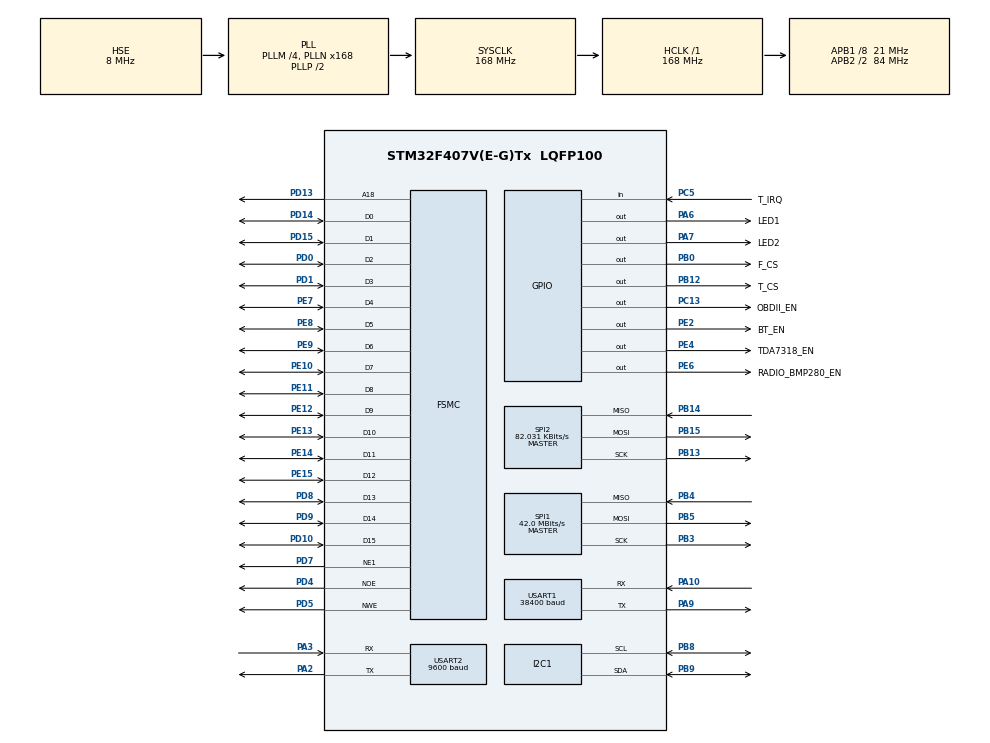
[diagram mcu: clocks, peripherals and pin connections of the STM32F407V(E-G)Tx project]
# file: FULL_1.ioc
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Dma.Request0=USART1_RX
Dma.Request1=USART1_TX
Dma.Request2=USART2_RX
Dma.Request3=USART2_TX
Dma.USART1_RX.0.Direction=DMA_PERIPH_TO_MEMORY
Dma.USART1_RX.0.FIFOMode=DMA_FIFOMODE_DISABLE
Dma.USART1_RX.0.Instance=DMA2_Stream2
Dma.USART1_RX.0.MemDataAlignment=DMA_MDATAALIGN_BYTE
Dma.USART1_RX.0.MemInc=DMA_MINC_ENABLE
Dma.USART1_RX.0.Mode=DMA_CIRCULAR
Dma.USART1_RX.0.PeriphDataAlignment=DMA_PDATAALIGN_BYTE
Dma.USART1_RX.0.PeriphInc=DMA_PINC_DISABLE
Dma.USART1_RX.0.Priority=DMA_PRIORITY_LOW
Dma.USART1_TX.1.Direction=DMA_MEMORY_TO_PERIPH
Dma.USART1_TX.1.FIFOMode=DMA_FIFOMODE_DISABLE
Dma.USART1_TX.1.Instance=DMA2_Stream7
Dma.USART1_TX.1.MemDataAlignment=DMA_MDATAALIGN_BYTE
Dma.USART1_TX.1.MemInc=DMA_MINC_ENABLE
Dma.USART1_TX.1.Mode=DMA_NORMAL
Dma.USART1_TX.1.PeriphDataAlignment=DMA_PDATAALIGN_BYTE
Dma.USART1_TX.1.PeriphInc=DMA_PINC_DISABLE
Dma.USART1_TX.1.Priority=DMA_PRIORITY_LOW
Dma.USART2_RX.2.Direction=DMA_PERIPH_TO_MEMORY
Dma.USART2_RX.2.FIFOMode=DMA_FIFOMODE_DISABLE
Dma.USART2_RX.2.Instance=DMA1_Stream5
Dma.USART2_RX.2.MemDataAlignment=DMA_MDATAALIGN_BYTE
Dma.USART2_RX.2.MemInc=DMA_MINC_ENABLE
Dma.USART2_RX.2.Mode=DMA_CIRCULAR
Dma.USART2_RX.2.PeriphDataAlignment=DMA_PDATAALIGN_BYTE
Dma.USART2_RX.2.PeriphInc=DMA_PINC_DISABLE
Dma.USART2_RX.2.Priority=DMA_PRIORITY_LOW
Dma.USART2_TX.3.Direction=DMA_MEMORY_TO_PERIPH
Dma.USART2_TX.3.FIFOMode=DMA_FIFOMODE_DISABLE
Dma.USART2_TX.3.Instance=DMA1_Stream6
Dma.USART2_TX.3.MemDataAlignment=DMA_MDATAALIGN_BYTE
Dma.USART2_TX.3.MemInc=DMA_MINC_ENABLE
Dma.USART2_TX.3.Mode=DMA_NORMAL
Dma.USART2_TX.3.PeriphDataAlignment=DMA_PDATAALIGN_BYTE
Dma.USART2_TX.3.PeriphInc=DMA_PINC_DISABLE
Dma.USART2_TX.3.Priority=DMA_PRIORITY_LOW
FREERTOS.Tasks01=GUI,0,2048,_GUI,Default,NULL,Dynamic,NULL,NULL;Parser,0,2048,_Parser,Default,NULL,Dynamic,NULL,NULL;OBD,0,1024,_OBD,Default,NULL,Dynamic,NULL,NULL;Audio,0,512,_Audio,Default,NULL,Dynamic,NULL,NULL;Touch,0,512,_Touch,Default,NULL,Dynamic,NULL,NULL;Meteo,0,256,_Meteo,Default,NULL,Dynamic,NULL,NULL;SaveReadParamet,0,2048,_SaveReadParameters,Default,NULL,Dynamic,NULL,NULL
FREERTOS.configTOTAL_HEAP_SIZE=51200
FSMC.AddressSetupTime1=0
FSMC.BusTurnAroundDuration1=0
FSMC.DataSetupTime1=1
Mcu.Family=STM32F4
Mcu.Name=STM32F407V(E-G)Tx
Mcu.Package=LQFP100
NVIC.DMA1_Stream5_IRQn=true\:5\:0\:false\:false\:true\:true\:false\:true
NVIC.DMA1_Stream6_IRQn=true\:5\:0\:false\:false\:true\:true\:false\:true
NVIC.DMA2_Stream2_IRQn=true\:5\:0\:false\:false\:true\:true\:false\:true
NVIC.DMA2_Stream7_IRQn=true\:5\:0\:false\:false\:true\:true\:false\:true
NVIC.PriorityGroup=NVIC_PRIORITYGROUP_4
NVIC.RCC_IRQn=true\:5\:0\:false\:false\:true\:true\:true\:false
NVIC.RTC_WKUP_IRQn=true\:5\:0\:false\:false\:true\:true\:true\:true
NVIC.TIM1_UP_TIM10_IRQn=true\:0\:0\:false\:false\:true\:false\:false\:true
NVIC.TIM7_IRQn=true\:5\:0\:false\:false\:true\:true\:true\:true
NVIC.TimeBase=TIM1_UP_TIM10_IRQn
NVIC.TimeBaseIP=TIM1
NVIC.USART1_IRQn=true\:5\:0\:false\:false\:true\:true\:true\:true
NVIC.USART2_IRQn=true\:5\:0\:false\:false\:true\:true\:true\:true
PA10.Mode=Asynchronous
PA10.Signal=USART1_RX
PA13.Mode=Serial_Wire
PA13.Signal=SYS_JTMS-SWDIO
PA14.Mode=Serial_Wire
PA14.Signal=SYS_JTCK-SWCLK
PA2.Mode=Asynchronous
PA2.Signal=USART2_TX
PA3.Mode=Asynchronous
PA3.Signal=USART2_RX
PA6.GPIO_Label=LED1
PA6.Signal=GPIO_Output
PA7.GPIO_Label=LED2
PA7.Signal=GPIO_Output
PA9.Mode=Asynchronous
PA9.Signal=USART1_TX
PB0.GPIO_Label=F_CS
PB0.GPIO_PuPd=GPIO_PULLUP
PB0.GPIO_Speed=GPIO_SPEED_FREQ_VERY_HIGH
PB0.PinState=GPIO_PIN_SET
PB0.Signal=GPIO_Output
PB12.GPIO_Label=T_CS
PB12.GPIO_PuPd=GPIO_PULLUP
PB12.GPIO_Speed=GPIO_SPEED_FREQ_VERY_HIGH
PB12.PinState=GPIO_PIN_SET
PB12.Signal=GPIO_Output
PB13.Mode=Full_Duplex_Master
PB13.Signal=SPI2_SCK
PB14.Mode=Full_Duplex_Master
PB14.Signal=SPI2_MISO
PB15.Mode=Full_Duplex_Master
PB15.Signal=SPI2_MOSI
PB3.Mode=Full_Duplex_Master
PB3.Signal=SPI1_SCK
PB4.Mode=Full_Duplex_Master
PB4.Signal=SPI1_MISO
PB5.Mode=Full_Duplex_Master
PB5.Signal=SPI1_MOSI
PB8.Mode=I2C
PB8.Signal=I2C1_SCL
PB9.Mode=I2C
PB9.Signal=I2C1_SDA
PC13-ANTI_TAMP.GPIO_Label=OBDII_EN
PC13-ANTI_TAMP.GPIO_PuPd=GPIO_PULLDOWN
PC13-ANTI_TAMP.Signal=GPIO_Output
PC14-OSC32_IN.Mode=LSE-External-Oscillator
PC14-OSC32_IN.Signal=RCC_OSC32_IN
PC15-OSC32_OUT.Mode=LSE-External-Oscillator
PC15-OSC32_OUT.Signal=RCC_OSC32_OUT
PC5.GPIO_Label=T_IRQ
PC5.Signal=GPIO_Input
PD0.Mode=16b-d1
PD0.Signal=FSMC_D2
PD1.Mode=16b-d1
PD1.Signal=FSMC_D3
PD10.Mode=16b-d1
PD10.Signal=FSMC_D15
PD13.Mode=A18_1
PD13.Signal=FSMC_A18
PD14.Mode=16b-d1
PD14.Signal=FSMC_D0
PD15.Mode=16b-d1
PD15.Signal=FSMC_D1
PD4.Mode=Lcd1
PD4.Signal=FSMC_NOE
PD5.Mode=Lcd1
PD5.Signal=FSMC_NWE
PD7.Mode=NorPsramChipSelect1_1
PD7.Signal=FSMC_NE1
PD8.Mode=16b-d1
PD8.Signal=FSMC_D13
PD9.Mode=16b-d1
PD9.Signal=FSMC_D14
PE10.Mode=16b-d1
PE10.Signal=FSMC_D7
PE11.Mode=16b-d1
PE11.Signal=FSMC_D8
PE12.Mode=16b-d1
PE12.Signal=FSMC_D9
PE13.Mode=16b-d1
PE13.Signal=FSMC_D10
PE14.Mode=16b-d1
PE14.Signal=FSMC_D11
PE15.Mode=16b-d1
PE15.Signal=FSMC_D12
PE2.GPIO_Label=BT_EN
PE2.GPIO_PuPd=GPIO_PULLDOWN
PE2.GPIO_Speed=GPIO_SPEED_FREQ_VERY_HIGH
PE2.Signal=GPIO_Output
PE4.GPIO_Label=TDA7318_EN
PE4.GPIO_PuPd=GPIO_PULLDOWN
PE4.GPIO_Speed=GPIO_SPEED_FREQ_VERY_HIGH
PE4.Signal=GPIO_Output
PE6.GPIO_Label=RADIO_BMP280_EN
PE6.GPIO_PuPd=GPIO_PULLDOWN
PE6.GPIO_Speed=GPIO_SPEED_FREQ_VERY_HIGH
PE6.Signal=GPIO_Output
PE7.Mode=16b-d1
PE7.Signal=FSMC_D4
PE8.Mode=16b-d1
PE8.Signal=FSMC_D5
PE9.Mode=16b-d1
PE9.Signal=FSMC_D6
PH0-OSC_IN.Mode=HSE-External-Oscillator
PH0-OSC_IN.Signal=RCC_OSC_IN
PH1-OSC_OUT.Mode=HSE-External-Oscillator
PH1-OSC_OUT.Signal=RCC_OSC_OUT
ProjectManager.HeapSize=0x2800
ProjectManager.StackSize=0x2800
ProjectManager.TargetToolchain=MDK-ARM V5
RCC.48MHZClocksFreq_Value=48000000
RCC.AHBFreq_Value=168000000
RCC.APB1CLKDivider=RCC_HCLK_DIV8
RCC.APB1Freq_Value=21000000
RCC.APB1TimFreq_Value=42000000
RCC.APB2CLKDivider=RCC_HCLK_DIV2
RCC.APB2Freq_Value=84000000
RCC.APB2TimFreq_Value=168000000
RCC.CortexFreq_Value=168000000
RCC.HCLKFreq_Value=168000000
RCC.HSE_VALUE=8000000
RCC.HSI_VALUE=16000000
RCC.PLLM=4
RCC.PLLN=168
RCC.PLLQ=7
RCC.PLLSourceVirtual=RCC_PLLSOURCE_HSE
RCC.RCC_RTC_Clock_Source=RCC_RTCCLKSOURCE_LSE
RCC.RCC_RTC_Clock_SourceVirtual=RCC_RTCCLKSOURCE_LSE
RCC.SYSCLKFreq_VALUE=168000000
RCC.SYSCLKSource=RCC_SYSCLKSOURCE_PLLCLK
RCC.VCOOutputFreq_Value=336000000
RTC.Date=2
RTC.Format=RTC_FORMAT_BCD
RTC.Month=RTC_MONTH_MARCH
RTC.WakeUpClock=RTC_WAKEUPCLOCK_CK_SPRE_16BITS
RTC.WakeUpCounter=59
RTC.Year=19
SPI1.BaudRatePrescaler=SPI_BAUDRATEPRESCALER_2
SPI1.CalculateBaudRate=42.0 MBits/s
SPI1.Direction=SPI_DIRECTION_2LINES
SPI1.Mode=SPI_MODE_MASTER
SPI1.VirtualType=VM_MASTER
SPI2.BaudRatePrescaler=SPI_BAUDRATEPRESCALER_256
SPI2.CalculateBaudRate=82.031 KBits/s
SPI2.Direction=SPI_DIRECTION_2LINES
SPI2.Mode=SPI_MODE_MASTER
SPI2.VirtualType=VM_MASTER
TIM7.Period=65500
TIM7.Prescaler=41999
TIM7.TIM_MasterOutputTrigger=TIM_TRGO_UPDATE
USART1.BaudRate=38400
USART1.VirtualMode=VM_ASYNC
USART2.BaudRate=9600
USART2.VirtualMode=VM_ASYNC
VP_FREERTOS_VS_CMSIS_V1.Mode=CMSIS_V1
VP_RTC_VS_RTC_Activate.Mode=RTC_Enabled
VP_RTC_VS_RTC_Calendar.Mode=RTC_Calendar
VP_RTC_VS_RTC_WakeUp_intern.Mode=WakeUp
VP_SYS_VS_tim1.Mode=TIM1
VP_TIM7_VS_ClockSourceINT.Mode=Enable_Timer
board=custom

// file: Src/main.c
/* USER CODE BEGIN Header */
/**
  ******************************************************************************
  * @file           : main.c
  * @brief          : Main program body
  ******************************************************************************
  * This notice applies to any and all portions of this file
  * that are not between comment pairs USER CODE BEGIN and
  * USER CODE END. Other portions of this file, whether
  * inserted by the user or by software development tools
  * are owned by their respective copyright owners.
  *
  * Copyright (c) 2019 STMicroelectronics International N.V.
  * All rights reserved.
  *
  * Redistribution and use in source and binary forms, with or without
  * modification, are permitted, provided that the following conditions are met:
  *
  * 1. Redistribution of source code must retain the above copyright notice,
  *    this list of conditions and the following disclaimer.
  * 2. Redistributions in binary form must reproduce the above copyright notice,
  *    this list of conditions and the following disclaimer in the documentation
  *    and/or other materials provided with the distribution.
  * 3. Neither the name of STMicroelectronics nor the names of other
  *    contributors to this software may be used to endorse or promote products
  *    derived from this software without specific written permission.
  * 4. This software, including modifications and/or derivative works of this
  *    software, must execute solely and exclusively on microcontroller or
  *    microprocessor devices manufactured by or for STMicroelectronics.
  * 5. Redistribution and use of this software other than as permitted under
  *    this license is void and will automatically terminate your rights under
  *    this license.
  *
  * THIS SOFTWARE IS PROVIDED BY STMICROELECTRONICS AND CONTRIBUTORS "AS IS"
  * AND ANY EXPRESS, IMPLIED OR STATUTORY WARRANTIES, INCLUDING, BUT NOT
  * LIMITED TO, THE IMPLIED WARRANTIES OF MERCHANTABILITY, FITNESS FOR A
  * PARTICULAR PURPOSE AND NON-INFRINGEMENT OF THIRD PARTY INTELLECTUAL PROPERTY
  * RIGHTS ARE DISCLAIMED TO THE FULLEST EXTENT PERMITTED BY LAW. IN NO EVENT
  * SHALL STMICROELECTRONICS OR CONTRIBUTORS BE LIABLE FOR ANY DIRECT, INDIRECT,
  * INCIDENTAL, SPECIAL, EXEMPLARY, OR CONSEQUENTIAL DAMAGES (INCLUDING, BUT NOT
  * LIMITED TO, PROCUREMENT OF SUBSTITUTE GOODS OR SERVICES; LOSS OF USE, DATA,
  * OR PROFITS; OR BUSINESS INTERRUPTION) HOWEVER CAUSED AND ON ANY THEORY OF
  * LIABILITY, WHETHER IN CONTRACT, STRICT LIABILITY, OR TORT (INCLUDING
  * NEGLIGENCE OR OTHERWISE) ARISING IN ANY WAY OUT OF THE USE OF THIS SOFTWARE,
  * EVEN IF ADVISED OF THE POSSIBILITY OF SUCH DAMAGE.
  *
  ******************************************************************************
  */
/* USER CODE END Header */

#include "main.h"
#include "cmsis_os.h"
#include "dma.h"
#include "i2c.h"
#include "rtc.h"
#include "spi.h"
#include "tim.h"
#include "usart.h"
#include "gpio.h"
#include "fsmc.h"

/* USER CODE BEGIN Includes */
#include "OBDII.h"
extern OBD_Data_States_Typedef OBD_Data_State;
extern DMA_HandleTypeDef hdma_usart1_rx;
extern DMA_HandleTypeDef hdma_usart2_rx;
uint8_t DMA_BUFFER_OBD[DMA_BUFFER_OBD_SIZE];
uint8_t OBD_BUFFER[DMA_BUFFER_OBD_SIZE];
uint8_t DMA_BUFFER_BT[DMA_BUFFER_BT_SIZE];
uint8_t BT_BUFFER[DMA_BUFFER_BT_SIZE];
/* USER CODE END Includes */

void SystemClock_Config(void);
void MX_FREERTOS_Init(void);

int main(void)
{

  /* MCU Configuration--------------------------------------------------------*/

  /* Reset of all peripherals, Initializes the Flash interface and the Systick. */
  HAL_Init();

  /* Configure the system clock */
  SystemClock_Config();

  /* Initialize all configured peripherals */
  MX_GPIO_Init();
  MX_DMA_Init();
  MX_FSMC_Init();
  MX_SPI2_Init();
  MX_SPI1_Init();
  MX_USART1_UART_Init();
  MX_USART2_UART_Init();
  MX_I2C1_Init();
  MX_RTC_Init();
  MX_TIM7_Init();
  /* USER CODE BEGIN 2 */
	RTC_Interrupt();
	hdma_usart1_rx.Instance->CR &= ~DMA_SxCR_HTIE;
	hdma_usart2_rx.Instance->CR &= ~DMA_SxCR_HTIE;
	__HAL_UART_ENABLE_IT(&huart1, UART_IT_IDLE);
	__HAL_UART_ENABLE_IT(&huart2, UART_IT_IDLE);
	__HAL_DMA_ENABLE_IT (&hdma_usart1_rx, DMA_IT_TC);
	__HAL_DMA_ENABLE_IT (&hdma_usart2_rx, DMA_IT_TC);
	HAL_UART_Receive_DMA(&huart1, DMA_BUFFER_OBD, DMA_BUFFER_OBD_SIZE);
	HAL_UART_Receive_DMA(&huart2, DMA_BUFFER_BT, DMA_BUFFER_BT_SIZE);
	HAL_TIM_Base_Start_IT(&htim7);
  /* USER CODE END 2 */

  /* Call init function for freertos objects (in freertos.c) */
  MX_FREERTOS_Init();

  /* Start scheduler */
  osKernelStart();

  /* We should never get here as control is now taken by the scheduler */

  /* Infinite loop */
  while (1)
  {

  }
}

void SystemClock_Config(void)
{
  RCC_OscInitTypeDef RCC_OscInitStruct = {0};
  RCC_ClkInitTypeDef RCC_ClkInitStruct = {0};
  RCC_PeriphCLKInitTypeDef PeriphClkInitStruct = {0};

  /** Configure the main internal regulator output voltage
  */
  __HAL_RCC_PWR_CLK_ENABLE();
  __HAL_PWR_VOLTAGESCALING_CONFIG(PWR_REGULATOR_VOLTAGE_SCALE1);
  /** Initializes the CPU, AHB and APB busses clocks
  */
  RCC_OscInitStruct.OscillatorType = RCC_OSCILLATORTYPE_HSE|RCC_OSCILLATORTYPE_LSE;
  RCC_OscInitStruct.HSEState = RCC_HSE_ON;
  RCC_OscInitStruct.LSEState = RCC_LSE_ON;
  RCC_OscInitStruct.PLL.PLLState = RCC_PLL_ON;
  RCC_OscInitStruct.PLL.PLLSource = RCC_PLLSOURCE_HSE;
  RCC_OscInitStruct.PLL.PLLM = 4;
  RCC_OscInitStruct.PLL.PLLN = 168;
  RCC_OscInitStruct.PLL.PLLP = RCC_PLLP_DIV2;
  RCC_OscInitStruct.PLL.PLLQ = 7;
  if (HAL_RCC_OscConfig(&RCC_OscInitStruct) != HAL_OK)
  {
    Error_Handler();
  }
  /** Initializes the CPU, AHB and APB busses clocks
  */
  RCC_ClkInitStruct.ClockType = RCC_CLOCKTYPE_HCLK|RCC_CLOCKTYPE_SYSCLK
                              |RCC_CLOCKTYPE_PCLK1|RCC_CLOCKTYPE_PCLK2;
  RCC_ClkInitStruct.SYSCLKSource = RCC_SYSCLKSOURCE_PLLCLK;
  RCC_ClkInitStruct.AHBCLKDivider = RCC_SYSCLK_DIV1;
  RCC_ClkInitStruct.APB1CLKDivider = RCC_HCLK_DIV8;
  RCC_ClkInitStruct.APB2CLKDivider = RCC_HCLK_DIV2;

  if (HAL_RCC_ClockConfig(&RCC_ClkInitStruct, FLASH_LATENCY_5) != HAL_OK)
  {
    Error_Handler();
  }
  PeriphClkInitStruct.PeriphClockSelection = RCC_PERIPHCLK_RTC;
  PeriphClkInitStruct.RTCClockSelection = RCC_RTCCLKSOURCE_LSE;
  if (HAL_RCCEx_PeriphCLKConfig(&PeriphClkInitStruct) != HAL_OK)
  {
    Error_Handler();
  }
}

void HAL_TIM_PeriodElapsedCallback(TIM_HandleTypeDef *htim)
{
  if (htim->Instance == TIM1)
	{
    HAL_IncTick();
  }
}

void Error_Handler(void)
{
}

/************************ (C) COPYRIGHT STMicroelectronics *****END OF FILE****/

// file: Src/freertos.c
/* USER CODE BEGIN Header */
/**
  ******************************************************************************
  * File Name          : freertos.c
  * Description        : Code for freertos applications
  ******************************************************************************
  * This notice applies to any and all portions of this file
  * that are not between comment pairs USER CODE BEGIN and
  * USER CODE END. Other portions of this file, whether
  * inserted by the user or by software development tools
  * are owned by their respective copyright owners.
  *
  * Copyright (c) 2019 STMicroelectronics International N.V.
  * All rights reserved.
  *
  * Redistribution and use in source and binary forms, with or without
  * modification, are permitted, provided that the following conditions are met:
  *
  * 1. Redistribution of source code must retain the above copyright notice,
  *    this list of conditions and the following disclaimer.
  * 2. Redistributions in binary form must reproduce the above copyright notice,
  *    this list of conditions and the following disclaimer in the documentation
  *    and/or other materials provided with the distribution.
  * 3. Neither the name of STMicroelectronics nor the names of other
  *    contributors to this software may be used to endorse or promote products
  *    derived from this software without specific written permission.
  * 4. This software, including modifications and/or derivative works of this
  *    software, must execute solely and exclusively on microcontroller or
  *    microprocessor devices manufactured by or for STMicroelectronics.
  * 5. Redistribution and use of this software other than as permitted under
  *    this license is void and will automatically terminate your rights under
  *    this license.
  *
  * THIS SOFTWARE IS PROVIDED BY STMICROELECTRONICS AND CONTRIBUTORS "AS IS"
  * AND ANY EXPRESS, IMPLIED OR STATUTORY WARRANTIES, INCLUDING, BUT NOT
  * LIMITED TO, THE IMPLIED WARRANTIES OF MERCHANTABILITY, FITNESS FOR A
  * PARTICULAR PURPOSE AND NON-INFRINGEMENT OF THIRD PARTY INTELLECTUAL PROPERTY
  * RIGHTS ARE DISCLAIMED TO THE FULLEST EXTENT PERMITTED BY LAW. IN NO EVENT
  * SHALL STMICROELECTRONICS OR CONTRIBUTORS BE LIABLE FOR ANY DIRECT, INDIRECT,
  * INCIDENTAL, SPECIAL, EXEMPLARY, OR CONSEQUENTIAL DAMAGES (INCLUDING, BUT NOT
  * LIMITED TO, PROCUREMENT OF SUBSTITUTE GOODS OR SERVICES; LOSS OF USE, DATA,
  * OR PROFITS; OR BUSINESS INTERRUPTION) HOWEVER CAUSED AND ON ANY THEORY OF
  * LIABILITY, WHETHER IN CONTRACT, STRICT LIABILITY, OR TORT (INCLUDING
  * NEGLIGENCE OR OTHERWISE) ARISING IN ANY WAY OUT OF THE USE OF THIS SOFTWARE,
  * EVEN IF ADVISED OF THE POSSIBILITY OF SUCH DAMAGE.
  *
  ******************************************************************************
  */
/* USER CODE END Header */

#include "FreeRTOS.h"
#include "task.h"
#include "main.h"
#include "cmsis_os.h"

/* USER CODE BEGIN Includes */
#include "GUI.h"
#include "TouchPanel.h"
#include "DIALOG.h"
#include "OBDII.h"
#include "BK8000L.h"
#include "W25Q.h"
#include "bmp280.h"
#include "TDA7318.h"
#include "RDA5807m.h"

/* USER CODE END Includes */

/* USER CODE BEGIN PTD */
WM_MESSAGE msg;
volatile OBD_General_States_Typedef OBD_General_State = NOP;
volatile OBD_Sign_States_Typedef OBD_Sign_State = OBD_OK;
volatile OBD_Data_States_Typedef OBD_Data_State = WAIT_DATA;
volatile OBD_Average_Cons_States_Typedef OBD_Average_Cons_State = CONSUMPTION_WAIT_RECEIVE;
volatile OBD_Errors_State_Typedef OBD_Errors_State = OBD_ERRORS_NOP;
volatile BT_General_States_Typedef BT_General_State = WAIT_BT_INIT;
volatile TDA7318_States_Typedef TDA7318_General_State = TDA7318_WAIT_INIT;
volatile TDA7318_Volume_States_Typedef TDA7318_Volume_State = TDA7318_UNMUTE;
volatile Audio_Switch_States_Typedef Audio_Switch = INPUT_1_SWITCH;
volatile BT_States_Typedef BT_State = WAIT;
BT_Values_Typedef BT_Value;
volatile BT_PowerMode_Typedef BT_PowerMode = OFF;
volatile RDA5807M_States_Typedef RDA5807M_States = RDA5807M_WAIT_INIT;
volatile RDA5807M_Update_States_Typedef RDA5807M_Update_States = RDA5807M_RSSI_WAIT;
volatile RDA5807M_PowerMode_Typedef RDA5807M_PowerMode = RDA5807M_OFF;
extern uint8_t DMA_BUFFER_OBD[DMA_BUFFER_OBD_SIZE];
extern uint8_t OBD_BUFFER[DMA_BUFFER_OBD_SIZE];
extern uint8_t DMA_BUFFER_BT[DMA_BUFFER_BT_SIZE];
extern uint8_t BT_BUFFER[DMA_BUFFER_BT_SIZE];
CarValues_Typedef Car_Param;
CarParameters_Typedef CarParameters;
Saved_parameters_Typedef Saved_Parameters;
RDA5807M_Data_Typedef RDA5807M_Data;
extern GUIHandles GuiHandles;
BMP280_HandleTypedef BMP280;
Meteo_Data_Typedef Meteo_Data;

/* USER CODE END PTD */

/* USER CODE BEGIN Variables */
xQueueHandle QueueCarParam;
xQueueHandle QueueMVHFromISR;
xQueueHandle QueueODBFromISR;
xQueueHandle QueueBTFromISR;
/* USER CODE END Variables */
osThreadId GUIHandle;
osThreadId ParserHandle;
osThreadId OBDHandle;
osThreadId AudioHandle;
osThreadId TouchHandle;
osThreadId MeteoHandle;
osThreadId SaveReadParametHandle;

void _GUI(void const * argument);
void _Parser(void const * argument);
void _OBD(void const * argument);
void _Audio(void const * argument);
void _Touch(void const * argument);
void _Meteo(void const * argument);
void _SaveReadParameters(void const * argument);

void MX_FREERTOS_Init(void); /* (MISRA C 2004 rule 8.1) */

/* GetIdleTaskMemory prototype (linked to static allocation support) */
void vApplicationGetIdleTaskMemory( StaticTask_t **ppxIdleTaskTCBBuffer, StackType_t **ppxIdleTaskStackBuffer, uint32_t *pulIdleTaskStackSize );

/* USER CODE BEGIN GET_IDLE_TASK_MEMORY */
static StaticTask_t xIdleTaskTCBBuffer;
static StackType_t xIdleStack[configMINIMAL_STACK_SIZE];

void vApplicationGetIdleTaskMemory( StaticTask_t **ppxIdleTaskTCBBuffer, StackType_t **ppxIdleTaskStackBuffer, uint32_t *pulIdleTaskStackSize )
{
  *ppxIdleTaskTCBBuffer = &xIdleTaskTCBBuffer;
  *ppxIdleTaskStackBuffer = &xIdleStack[0];
  *pulIdleTaskStackSize = configMINIMAL_STACK_SIZE;
  /* place for user code */
}
/* USER CODE END GET_IDLE_TASK_MEMORY */

void MX_FREERTOS_Init(void) {
  /* USER CODE BEGIN Init */
  Touch_Cal_Read(&matrix);
	__HAL_RCC_CRC_CLK_ENABLE();
	HAL_GPIO_WritePin(RADIO_BMP280_EN_GPIO_Port, RADIO_BMP280_EN_Pin, GPIO_PIN_SET);
	HAL_GPIO_WritePin(TDA7318_EN_GPIO_Port, TDA7318_EN_Pin, GPIO_PIN_RESET);
	HAL_GPIO_WritePin(OBDII_EN_GPIO_Port, OBDII_EN_Pin, GPIO_PIN_RESET);
	Car_Param.Average_Consumption = 0.0f;
	GUI_Init();
	CreateMainWindow();
  /* USER CODE END Init */

  /* USER CODE BEGIN RTOS_QUEUES */
	QueueODBFromISR = xQueueCreate(10, sizeof(DMA_BUFFER_OBD));
	QueueBTFromISR = xQueueCreate(1, sizeof(DMA_BUFFER_BT));
  /* add queues, ... */
  /* USER CODE END RTOS_QUEUES */

  /* Create the thread(s) */
  /* definition and creation of GUI */
  osThreadDef(GUI, _GUI, osPriorityNormal, 0, 2048);
  GUIHandle = osThreadCreate(osThread(GUI), NULL);

  /* definition and creation of Parser */
  osThreadDef(Parser, _Parser, osPriorityNormal, 0, 2048);
  ParserHandle = osThreadCreate(osThread(Parser), NULL);

  /* definition and creation of OBD */
  osThreadDef(OBD, _OBD, osPriorityNormal, 0, 1024);
  OBDHandle = osThreadCreate(osThread(OBD), NULL);

  /* definition and creation of Audio */
  osThreadDef(Audio, _Audio, osPriorityNormal, 0, 512);
  AudioHandle = osThreadCreate(osThread(Audio), NULL);

  /* definition and creation of Touch */
  osThreadDef(Touch, _Touch, osPriorityNormal, 0, 512);
  TouchHandle = osThreadCreate(osThread(Touch), NULL);

  /* definition and creation of Meteo */
  osThreadDef(Meteo, _Meteo, osPriorityNormal, 0, 256);
  MeteoHandle = osThreadCreate(osThread(Meteo), NULL);

  /* definition and creation of SaveReadParamet */
  osThreadDef(SaveReadParamet, _SaveReadParameters, osPriorityNormal, 0, 2048);
  SaveReadParametHandle = osThreadCreate(osThread(SaveReadParamet), NULL);

}

void _GUI(void const * argument)
{

  /* USER CODE BEGIN _GUI */

  /* Infinite loop */
  for(;;)
  {

		GUI_Exec();

		switch(msg.MsgId)
		{
			case WM_UPDATE_MIN:
				WM_SendMessage(GuiHandles.hMainWindow, &msg);
				msg.MsgId = WM_UPDATE_MIN;
				WM_SendMessage(GuiHandles.hAudioWindow, &msg);
				break;
			case WM_UPDATE_CAR:
				WM_SendMessage(GuiHandles.hMainWindow, &msg);
				msg.MsgId = WM_UPDATE_CAR;
				WM_SendMessage(GuiHandles.hAudioWindow, &msg);
				break;
			case WM_UPDATE_AUDIO:
				WM_SendMessage(GuiHandles.hAudioWindow, &msg);
				break;
			case WM_UPDATE_BT:
				WM_SendMessage(GuiHandles.hAudioWindow, &msg);
				break;
			case WM_UPDATE_OBD_ERRORS:
				WM_SendMessage(GuiHandles.hOBDWindow, &msg);
				break;
			case WM_UPDATE_METEO:
				WM_SendMessage(GuiHandles.hMainWindow, &msg);
				break;
			case WM_RADIO:
				WM_SendMessage(GuiHandles.hAudioWindow, &msg);
				break;
		}

  }
  /* USER CODE END _GUI */
}

void _Parser(void const * argument)
{
  /* USER CODE BEGIN _Parser */
	  /* Infinite loop */
  for(;;)
  {
		if(uxQueueMessagesWaitingFromISR(QueueODBFromISR)>0)
		{
			xQueueReceive(QueueODBFromISR, &OBD_BUFFER, 100);
			OBD_CheckState(OBD_BUFFER, &CarParameters);
		}
		if(uxQueueMessagesWaitingFromISR(QueueBTFromISR)>0)
			{
				xQueueReceive(QueueBTFromISR, &BT_BUFFER, 100);
				if(BT_PowerMode != OFF)
				{
					BTCheckState(BT_BUFFER, &BT_Value);
				}
			}
  }
  /* USER CODE END _Parser */
}

void _OBD(void const * argument)
{
  /* USER CODE BEGIN _OBD */
	float VSS, MAP, IAT, RPM, LONGFT, SHRTFT, Fb, Ft;
	uint8_t k = 0;
	float Current_Consumption[NUMBER_OF_MEASUREMENTS] = {0};
  /* Infinite loop */
  for(;;)
  {
		if(Saved_Parameters.OBD_mode == 1)
		{
			if(OBD_General_State != OBD_INIT)
			{
				OBD_Init();
			}
			if(OBD_General_State == OBD_INIT)
			{
				OBD_Update();

			if(OBD_Data_State == COMPLETE_ALL_DATA)
			{
				Car_Param.Voltage = CarParameters.Voltage;
				Car_Param.ECT = CarParameters.ECT - 40.0f;
				Car_Param.FUEL = ((CarParameters.FUEL) * 100.0f) / 255.0f;
				Car_Param.FUEL_Liters = Car_Param.FUEL / 100.0f * 55.0f;
				VSS = CarParameters.VSS;
				if(VSS <= 0)
				{
					VSS = 1;
				}
				IAT = CarParameters.IAT - 40.0f;
				LONGFT = ((CarParameters.LONGFT - 128.0f) * 100.0f) / 128.0f;
				SHRTFT = ((CarParameters.SHRTFT - 128.0f) * 100.0f) / 128.0f;
				MAP = CarParameters.MAP;
				RPM = (CarParameters.RPM_A * 256.0f + CarParameters.RPM_B)/4.0f;
				Fb = (Saved_Parameters.K / 100.0f) * (RPM / 60.0f) * MAP * 0.8f * 28.98f / (8.31441f * (IAT + 273.15f));
				Ft = (1.0f + 0.001f * (IAT - 20.0f)) * 3600.0f * Fb * (1.0f + ((SHRTFT + LONGFT) / 100.0f)) / (14.7f * 760.0f);
				Car_Param.LH_consumption = Ft;

				if(VSS > 0)
				{
					Car_Param.Fuel_consumption = (Ft / VSS) * 100.0f;
					if(k == (NUMBER_OF_MEASUREMENTS - 1))
					{
						for(uint8_t i = 0; i < NUMBER_OF_MEASUREMENTS; i++)
						{
							Car_Param.Average_Consumption += Current_Consumption[i];
						}
						Car_Param.Average_Consumption /= (float)NUMBER_OF_MEASUREMENTS;
						Saved_Parameters.Average_consumption = (Saved_Parameters.Average_consumption + Car_Param.Average_Consumption) / 2.0f;
						k = 0;
					}
					else
					{
						Current_Consumption[k] = Car_Param.Fuel_consumption;
						k++;
					}
				}

				OBD_Data_State = CALCULATE_END;
				msg.MsgId = WM_UPDATE_CAR;
			}
		}
	}
		else
		{
			if(OBD_General_State != OBD_INIT)
			{
				OBD_Init();
			}
			if(OBD_Errors_State != OBD_ERRORS_NOP)
			{
				OBDReadErrors();
			}
		}

}

  /* USER CODE END _OBD */
}

void _Audio(void const * argument)
{
  /* USER CODE BEGIN _Audio */
  /* Infinite loop */
  for(;;)
  {
		if(BT_General_State != BT_INIT_OK)
		{
			BT_Init();
		}
		if(RDA5807M_States == RDA5807M_WAIT_INIT)
		{
			osDelay(100);
			RDA5807M_Init();
			RDA5807M_States = RDA5807M_INIT_OK;
		}
		if(Audio_Switch == RADIO_SWITCH)
		{
			if(RDA5807M_Update_States == RDA5807M_RSSI_WAIT)
			{
				RDA5807M_Data.RSSI = RDA5807M_GetRSSI();
				RDA5807M_Data.Frequency = RDA5807M_GetFrequency();
				RDA5807M_GetRDS(&RDA5807M_Data);
				RDA5807M_Update_States = RDA5807M_RSSI_UPDATE;
				msg.MsgId = WM_RADIO;
			}
		}

  }
  /* USER CODE END _Audio */
}

void _Touch(void const * argument)
{
  /* USER CODE BEGIN _Touch */
  /* Infinite loop */
  for(;;)
  {
		Touch_Update();
  }
  /* USER CODE END _Touch */
}

void _Meteo(void const * argument)
{
  /* USER CODE BEGIN _Meteo */

	BMP280.addr = BMP280_I2C_ADDRESS_0;
	bmp280_init(&BMP280);
	bmp280_read_float(&BMP280, &Meteo_Data.Temperature, &Meteo_Data.Pressure);
	Meteo_Data.Pressure = Meteo_Data.Pressure/(float)133.3224;
  /* Infinite loop */
  for(;;)
  {
    if(Saved_Parameters.Temperature_mode)
		{
		bmp280_read_float(&BMP280, &Meteo_Data.Temperature, &Meteo_Data.Pressure);
		Meteo_Data.Pressure = Meteo_Data.Pressure/(float)133.3224;
		msg.MsgId = WM_UPDATE_METEO;
		}
		osDelay(5000);
  }
  /* USER CODE END _Meteo */
}

void _SaveReadParameters(void const * argument)
{
  /* USER CODE BEGIN _SaveReadParameters */
	uint16_t Current_page;
	HAL_PWR_EnableBkUpAccess();
	Current_page = HAL_RTCEx_BKUPRead(&hrtc, RTC_BKP_DR18);
	uint8_t TX_BUFFER[256];
	uint8_t RX_BUFFER[256];
	W25Q_Read(RX_BUFFER,Current_page);
	ConvertArrayToStruct(RX_BUFFER, &Saved_Parameters);
	if(Saved_Parameters.Amplification == 0xFF)
	{
		LoadDefaultParameters(&Saved_Parameters);
	}
	Car_Param.Average_Consumption = Saved_Parameters.Average_consumption;
	LCD_Brightness(Saved_Parameters.Brightness);
  /* Infinite loop */
  for(;;)
  {
		ConvertStructToArray(&Saved_Parameters, TX_BUFFER);
		W25Q_Read(RX_BUFFER, Current_page);
		if(memcmp(RX_BUFFER, TX_BUFFER, 256) != 0)
		{
			Current_page++;
			if(Current_page >= W25Q_NUMBERS_OF_PAGES)
			{
				Current_page = 0;
			}
			W25Q_ChipErase();
			W25Q_Write(TX_BUFFER, Current_page);
			HAL_RTCEx_BKUPWrite(&hrtc, RTC_BKP_DR18, Current_page);
		}
    osDelay(600000);
  }
  /* USER CODE END _SaveReadParameters */
}

/* USER CODE BEGIN Application */

void RTC_WakeupCallback(void) {
	msg.MsgId = WM_UPDATE_MIN;
}
/* USER CODE END Application */

/************************ (C) COPYRIGHT STMicroelectronics *****END OF FILE****/
